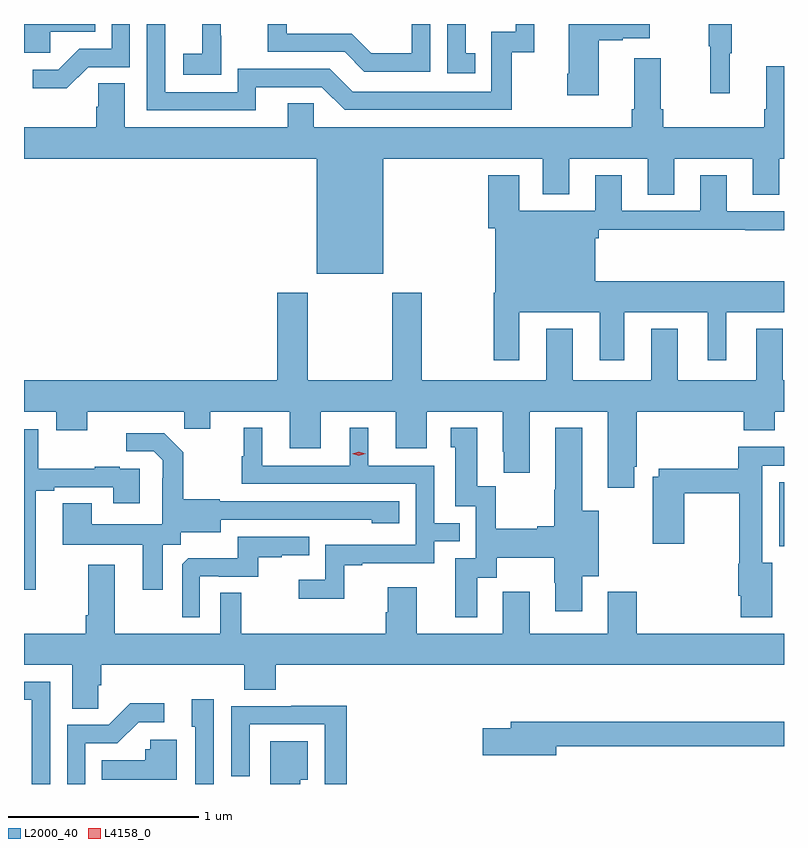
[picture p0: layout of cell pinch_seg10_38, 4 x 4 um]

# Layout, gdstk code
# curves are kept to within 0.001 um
import gdstk
lib = gdstk.Library(unit=1e-6, precision=1e-09)
def R(c, l, rs):  # rectangles x0, y0, x1, y1
    for r in rs: c.add(gdstk.rectangle(r[:2], r[2:], *l))
def P(c, l, *ps):  # polygons
    for p in ps: c.add(gdstk.Polygon(p, *l))
L2000_40 = (2000, 40)
L4158_0 = (4158, 0)

pinch_seg10_38 = lib.new_cell('pinch_seg10_38')
R(pinch_seg10_38, L2000_40, [(905.27,1280.96,905.294,1281.295)])
P(pinch_seg10_38, L2000_40, [(902.331,1283.647),(902.33,1283.647),(902.33,1283.708),(902.231,1283.708),(902.231,1283.551),(902.133,1283.551),(902.133,1283.441),(902.331,1283.441)],
  [(902.515,1283.376),(902.862,1283.376),(902.982,1283.256),(903.862,1283.256),(903.862,1283.559),(903.98,1283.559),(903.98,1283.708),(903.882,1283.708),(903.882,1283.667),(903.753,1283.667),(903.753,1283.352),(903.024,1283.352),(902.904,1283.472),(902.418,1283.472),(902.418,1283.349),(902.037,1283.349),(902.037,1283.708),(901.941,1283.708),(901.941,1283.253),(902.515,1283.253)],
  [(901.632,1283.481),(901.851,1283.481),(901.851,1283.708),(901.755,1283.708),(901.755,1283.577),(901.586,1283.577),(901.475,1283.466),(901.341,1283.466),(901.341,1283.369),(901.519,1283.369)],
  [(903.668,1283.553),(903.619,1283.553),(903.619,1283.708),(903.522,1283.708),(903.522,1283.448),(903.668,1283.448)],
  [(905.009,1283.555),(905.02,1283.555),(905.02,1283.708),(904.899,1283.708),(904.899,1283.592),(904.906,1283.592),(904.906,1283.343),(905.009,1283.343)],
  [(904.318,1283.623),(904.445,1283.623),(904.445,1283.633),(904.588,1283.633),(904.588,1283.708),(904.16,1283.708),(904.16,1283.446),(904.153,1283.446),(904.153,1283.334),(904.318,1283.334)],
  [(903.432,1283.708),(903.336,1283.708),(903.336,1283.554),(903.122,1283.554),(903.018,1283.658),(902.676,1283.658),(902.676,1283.708),(902.578,1283.708),(902.578,1283.562),(902.981,1283.562),(903.086,1283.457),(903.432,1283.457)],
  [(901.431,1283.666),(901.67,1283.666),(901.67,1283.708),(901.294,1283.708),(901.294,1283.558),(901.431,1283.558)],
  [(903.184,1283),(904.025,1283),(904.025,1282.811),(904.165,1282.811),(904.165,1283),(904.577,1283),(904.577,1282.81),(904.717,1282.81),(904.717,1283),(905.129,1283),(905.129,1282.81),(905.268,1282.81),(905.268,1283),(905.294,1283),(905.294,1283.485),(905.201,1283.485),(905.201,1283.26),(905.189,1283.26),(905.189,1283.164),(904.658,1283.164),(904.658,1283.26),(904.645,1283.26),(904.645,1283.527),(904.505,1283.527),(904.505,1283.26),(904.493,1283.26),(904.493,1283.164),(902.82,1283.164),(902.82,1283.291),(902.681,1283.291),(902.681,1283.164),(901.825,1283.164),(901.825,1283.396),(901.686,1283.396),(901.686,1283.273),(901.673,1283.273),(901.673,1283.164),(901.294,1283.164),(901.294,1283),(902.834,1283),(902.834,1282.394),(903.184,1282.394)],
  [(903.901,1282.19),(904.325,1282.19),(904.325,1281.939),(904.453,1281.939),(904.453,1282.19),(904.892,1282.19),(904.892,1281.939),(904.99,1281.939),(904.99,1282.19),(905.294,1282.19),(905.294,1282.354),(904.3,1282.354),(904.3,1282.581),(904.318,1282.581),(904.318,1282.624),(905.089,1282.624),(905.089,1282.622),(905.294,1282.622),(905.294,1282.722),(904.993,1282.722),(904.993,1282.912),(904.853,1282.912),(904.853,1282.725),(904.441,1282.725),(904.441,1282.912),(904.301,1282.912),(904.301,1282.726),(903.901,1282.726),(903.901,1282.912),(903.737,1282.912),(903.737,1282.632),(903.773,1282.632),(903.773,1282.294),(903.766,1282.294),(903.766,1281.939),(903.901,1281.939)],
  [(904.183,1282.105),(904.043,1282.105),(904.043,1281.832),(903.387,1281.832),(903.387,1282.294),(903.232,1282.294),(903.232,1281.832),(902.787,1281.832),(902.787,1282.294),(902.627,1282.294),(902.627,1281.832),(901.294,1281.832),(901.294,1281.668),(901.463,1281.668),(901.463,1281.569),(901.627,1281.569),(901.627,1281.668),(902.137,1281.668),(902.137,1281.578),(902.275,1281.578),(902.275,1281.668),(902.693,1281.668),(902.693,1281.474),(902.857,1281.474),(902.857,1281.668),(903.251,1281.668),(903.251,1281.474),(903.415,1281.474),(903.415,1281.668),(903.815,1281.668),(903.815,1281.457),(903.818,1281.457),(903.818,1281.345),(903.955,1281.345),(903.955,1281.668),(904.367,1281.668),(904.367,1281.267),(904.507,1281.267),(904.507,1281.379),(904.52,1281.379),(904.52,1281.668),(905.081,1281.668),(905.081,1281.569),(905.246,1281.569),(905.246,1281.668),(905.294,1281.668),(905.294,1281.832),(905.287,1281.832),(905.287,1282.105),(905.147,1282.105),(905.147,1281.832),(904.735,1281.832),(904.735,1282.105),(904.595,1282.105),(904.595,1281.832),(904.183,1281.832)],
  [(903.679,1280.794),(903.781,1280.794),(903.781,1280.9),(904.084,1280.9),(904.084,1280.766),(904.091,1280.766),(904.091,1280.616),(904.231,1280.616),(904.231,1280.801),(904.318,1280.801),(904.318,1281.145),(904.231,1281.145),(904.231,1281.583),(904.091,1281.583),(904.091,1281.257),(904.084,1281.257),(904.084,1281.065),(903.995,1281.065),(903.995,1281.052),(903.777,1281.052),(903.777,1281.275),(903.679,1281.275),(903.679,1281.583),(903.539,1281.583),(903.539,1281.48),(903.563,1281.48),(903.563,1281.171),(903.672,1281.171),(903.672,1280.895),(903.563,1280.895),(903.563,1280.586),(903.679,1280.586)],
  [(902.979,1280.859),(903.073,1280.859),(903.073,1280.871),(903.453,1280.871),(903.453,1280.985),(903.587,1280.985),(903.587,1281.081),(903.453,1281.081),(903.453,1281.384),(903.106,1281.384),(903.106,1281.583),(903.008,1281.583),(903.008,1281.384),(902.548,1281.384),(902.548,1281.583),(902.45,1281.583),(902.45,1281.432),(902.439,1281.432),(902.439,1281.288),(903.357,1281.288),(903.357,1280.967),(902.88,1280.967),(902.88,1280.782),(902.739,1280.782),(902.739,1280.684),(902.979,1280.684)],
  [(901.357,1281.252),(901.453,1281.252),(901.453,1281.27),(901.763,1281.27),(901.763,1281.186),(901.903,1281.186),(901.903,1281.366),(901.799,1281.366),(901.799,1281.379),(901.667,1281.379),(901.667,1281.368),(901.369,1281.368),(901.369,1281.576),(901.294,1281.576),(901.294,1280.73),(901.357,1280.73)],
  [(902.023,1280.968),(902.118,1280.968),(902.118,1281.032),(902.329,1281.032),(902.329,1281.099),(903.123,1281.098),(903.123,1281.08),(903.268,1281.08),(903.268,1281.195),(902.325,1281.195),(902.325,1281.208),(902.133,1281.208),(902.133,1281.453),(902.033,1281.553),(901.833,1281.553),(901.833,1281.459),(901.977,1281.459),(902.024,1281.412),(902.024,1281.317),(902.022,1281.317),(902.022,1281.076),(901.651,1281.076),(901.651,1281.185),(901.499,1281.185),(901.499,1280.966),(901.919,1280.966),(901.919,1280.73),(902.023,1280.73)],
  [(905.233,1280.872),(905.179,1280.872),(905.179,1281.384),(905.294,1281.384),(905.294,1281.482),(905.054,1281.482),(905.054,1281.367),(904.634,1281.367),(904.634,1281.325),(904.604,1281.325),(904.604,1280.973),(904.77,1280.973),(904.77,1281.238),(905.059,1281.238),(905.059,1280.868),(905.054,1280.868),(905.054,1280.698),(905.066,1280.698),(905.066,1280.586),(905.233,1280.586)],
  [(902.22,1280.802),(902.32,1280.802),(902.32,1280.799),(902.528,1280.799),(902.528,1280.901),(902.651,1280.901),(902.651,1280.912),(902.795,1280.912),(902.795,1281.009),(902.418,1281.009),(902.418,1280.897),(902.159,1280.897),(902.127,1280.865),(902.127,1280.585),(902.22,1280.585)],
  [(905.294,1280.5),(904.52,1280.5),(904.52,1280.719),(904.367,1280.719),(904.367,1280.5),(903.955,1280.5),(903.955,1280.719),(903.815,1280.719),(903.815,1280.5),(903.361,1280.5),(903.361,1280.743),(903.209,1280.743),(903.209,1280.613),(903.197,1280.613),(903.197,1280.5),(902.437,1280.5),(902.437,1280.714),(902.328,1280.714),(902.328,1280.5),(901.771,1280.5),(901.771,1280.863),(901.631,1280.863),(901.631,1280.596),(901.619,1280.596),(901.619,1280.5),(901.294,1280.5),(901.294,1280.336),(901.547,1280.336),(901.547,1280.104),(901.686,1280.104),(901.686,1280.227),(901.7,1280.227),(901.7,1280.336),(902.453,1280.336),(902.453,1280.203),(902.618,1280.203),(902.618,1280.336),(905.294,1280.336)],
  [(901.431,1280.247),(901.294,1280.247),(901.294,1280.151),(901.335,1280.151),(901.335,1279.708),(901.431,1279.708)],
  [(902.292,1280.155),(902.177,1280.155),(902.177,1280.01),(902.196,1280.01),(902.196,1279.708),(902.292,1279.708)],
  [(901.617,1279.923),(901.786,1279.923),(901.897,1280.034),(902.032,1280.034),(902.032,1280.132),(901.853,1280.132),(901.74,1280.019),(901.521,1280.019),(901.521,1279.708),(901.617,1279.708)],
  [(902.993,1280.12),(902.701,1280.12),(902.701,1280.118),(902.385,1280.118),(902.385,1279.749),(902.481,1279.749),(902.481,1280.022),(902.877,1280.022),(902.877,1279.708),(902.993,1279.708)],
  [(904.096,1279.906),(905.294,1279.906),(905.294,1280.035),(903.857,1280.035),(903.857,1280.001),(903.708,1280.001),(903.708,1279.859),(904.096,1279.859)],
  [(902.098,1279.942),(901.959,1279.942),(901.959,1279.89),(901.933,1279.89),(901.933,1279.834),(901.702,1279.834),(901.702,1279.73),(902.098,1279.73)],
  [(902.749,1279.73),(902.788,1279.73),(902.788,1279.933),(902.591,1279.933),(902.591,1279.708),(902.749,1279.708)])
P(pinch_seg10_38, L4158_0, [(903.057,1281.436),(903.021,1281.446),(903.021,1281.446),(903.021,1281.446),(903.057,1281.456),(903.093,1281.446),(903.093,1281.446),(903.093,1281.446)])

lib.write_gds('pinch_seg10_38.gds')
